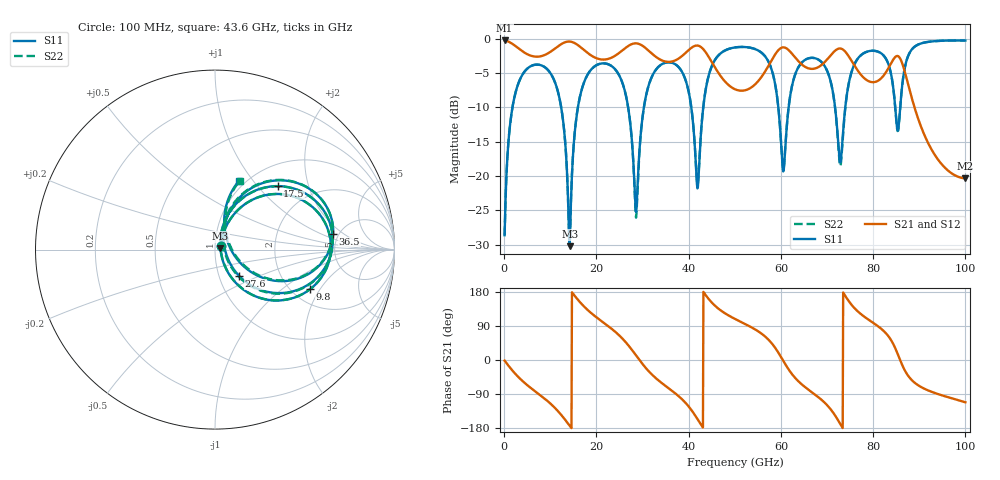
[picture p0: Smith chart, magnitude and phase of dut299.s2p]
! Touchstone file exported from HFSS 2026.1.0
!  File:  C:/ffzhzh/LocalFiles/Ansys_Project_Files/temp_train_TSV_RDL_299_1783682153_29156.aedt
!  Generated:  07:25:40 PM Jul 10, 2026
!  Design:  TSV_RDL
!  Project:  temp_train_TSV_RDL_299_1783682153_29156
! Variables:
!  h_bsmrdl = 2.59um
!  h_ox = 20um
!  h_rdl = 5um
!  h_sub = 87.44um
!  h_tmrdl = 2.88um
!  h_tsv = 87.44um
!  h_via = 3um
!  l_bsmrdl = 439.52um
!  l_sub = 3886um
!  l_tmrdl = 519.33um
!  m_sub = 200um
!  pitch = 59.17um
!  r_tsv = 10.39um
!  s_tmrdl = 10um
!  w_bsmrdl = 17.77um
!  w_sub = 500um
!  w_tmrdl = 12.27um
!  x_tsv_center1 = 525.465um
!  x_tsv_center2 = 982.755um
!  x_tsv_center3 = 1514.355um
!  x_tsv_center4 = 1971.645um
!  x_tsv_center5 = 2503.245um
!  x_tsv_center6 = 2960.535um
# GHz S MA R 50.000000
! Terminal data exported
! Port[1] = TM_RDL1_1_T1
! Port[2] = TM_RDL5_1_T1
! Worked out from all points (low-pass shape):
!   1000 points, 100 MHz to 100 GHz, reference 50 ohm
!   highest |S21| = -0.28 dB at 100 MHz (marker M1); lowest = -20.4 dB at 100 GHz (marker M2)
!   |S21| within 3 dB of the highest: start of sweep to 34.57 GHz; 36.73 GHz to 44.89 GHz (8.153 GHz wide, 20 % of centre) (the widest 2 of 5)
!   lowest |S11| = -30.2 dB at 14.2 GHz (marker M3), VSWR 1.06, Z = 53.1 + j0.711 ohm
!   |S11| at or under -10 dB: 12.36 GHz to 16 GHz (3.633 GHz wide, 25.6 % of centre); 26.88 GHz to 30.3 GHz (3.421 GHz wide, 12 % of centre); 40.57 GHz to 43.17 GHz (2.603 GHz wide, 6.22 % of centre) (the widest 3 of 7)
!   |S22| runs from -30.0 to -0.3 dB; largest |S21 - S12| = 2.2e-11
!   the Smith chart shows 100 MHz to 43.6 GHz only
!   S11 on the Smith chart (normalised r, x): 100 MHz: 1.06, +0.04; 9.8 GHz: 2.49, -1.64; 17.5 GHz: 1.37, +1.29; 27.6 GHz: 1.24, -0.38; 36.5 GHz: 4.48, +1.43; 43.6 GHz: 0.93, +0.85
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0.1  0.03695 30.8  0.9686 -1.7  0.9686 -1.7  0.03695 30.8
! Gamma 0 0 0 0
! Port Impedance 50 0 50 0
2.8  0.4422 44.3  0.8639 -41.5  0.8639 -41.5  0.4422 44.3
9.8  0.5739 -22.6  0.7913 -112.5  0.7913 -112.5  0.5739 -22.6
14.2  0.03078 12.6  0.951 -173.3  0.951 -173.3  0.03179 12.5
16.8  0.4231 53.3  0.853 147.8  0.853 147.8  0.4233 53.1
17.5  0.4967 45.4  0.8154 139.0  0.8154 139.0  0.4969 45.3
27.6  0.1976 -47.5  0.909 28.4  0.909 28.4  0.1969 -48.8
28.7  0.0582 29.9  0.9223 10.4  0.9223 10.4  0.05348 31.2
33.4  0.6203 33.8  0.7166 -53.2  0.7166 -53.2  0.6197 34.2
36.5  0.6644 7.7  0.682 -82.3  0.682 -82.3  0.664 8.1
41.9  0.08113 17.5  0.8895 -155.6  0.8895 -155.6  0.0862 18.2
43.6  0.4062 70.8  0.8029 172.8  0.8029 172.8  0.4075 70.1
50.1  0.8621 16.6  0.4266 108.1  0.4266 108.1  0.8623 16.5
57.5  0.6574 -32.6  0.6497 51.2  0.6497 51.2  0.6577 -32.5
60.4  0.1131 -17.5  0.8622 0.2  0.8622 0.2  0.1173 -17.0
66.7  0.7238 4.8  0.6013 -84.9  0.6013 -84.9  0.7239 4.3
73.3  0.1719 45.0  0.8376 -177.6  0.8376 -177.6  0.1661 46.4
76.4  0.6932 34.8  0.6022 131.4  0.6022 131.4  0.6921 35.1
83.4  0.6377 -19.6  0.6163 61.3  0.6163 61.3  0.637 -19.7
85.3  0.2139 5.6  0.7465 16.6  0.7465 16.6  0.2122 5.6
87.4  0.7188 35.8  0.4902 -38.3  0.4902 -38.3  0.7188 35.8
100  0.9677 -22.2  0.09588 -111.7  0.09588 -111.7  0.9677 -22.3
